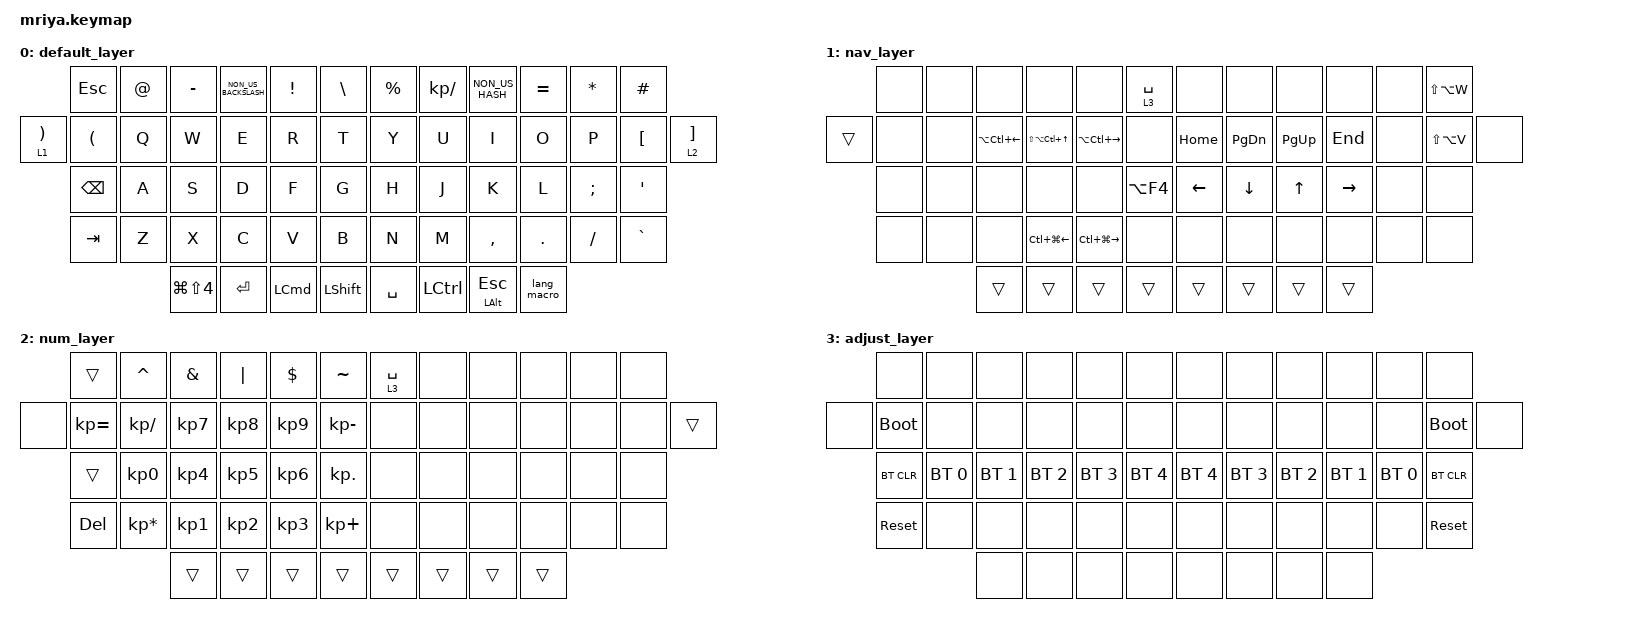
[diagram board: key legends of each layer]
/*
 * Copyright (c) 2023 Andrei Gaevskii
 *
 * SPDX-License-Identifier: MIT
 */

#include <behaviors.dtsi>
#include <dt-bindings/zmk/bt.h>
#include <dt-bindings/zmk/keys.h>

#define DEF 0
#define LWR 1
#define RSE 2
#define ADJ 3

&lt {
    quick_tap_ms = <200>;
};

&mt {
    quick_tap_ms = <200>;
};

/ {
    macros {
        lang_macro: lang_macro {
            compatible = "zmk,behavior-macro";
            label = "LANG_MACRO";
            #binding-cells = <0>;
            bindings = <&kp LC(LG(SPACE)) &kp LG(SPACE)>;
        };
    };

    keymap {
        compatible = "zmk,keymap";

        default_layer {
            bindings = <
                         &kp ESCAPE            &kp AT_SIGN  &kp MINUS             &kp NON_US_BACKSLASH  &kp EXCLAMATION   &kp BACKSLASH     &kp PERCENT  &kp KP_SLASH  &kp NON_US_HASH   &kp EQUAL    &kp ASTERISK  &kp HASH
&lt 1 RIGHT_PARENTHESIS  &kp LEFT_PARENTHESIS  &kp Q        &kp W                 &kp E                 &kp R             &kp T             &kp Y        &kp U         &kp I             &kp O        &kp P         &kp LBKT          &lt 2 RIGHT_BRACKET
                         &kp BACKSPACE         &kp A        &kp S                 &kp D                 &kp F             &kp G             &kp H        &kp J         &kp K             &kp L        &kp SEMI      &kp SINGLE_QUOTE
                         &kp TAB               &kp Z        &kp X                 &kp C                 &kp V             &kp B             &kp N        &kp M         &kp COMMA         &kp DOT      &kp FSLH      &kp GRAVE
                                                            &kp LG(LS(NUMBER_4))  &kp RETURN            &kp LEFT_COMMAND  &kp LEFT_SHIFT    &kp SPACE    &kp LCTRL     &mt LEFT_ALT ESC  &lang_macro
            >;
        };

        nav_layer {
            bindings = <
        &none  &none  &none                   &none                     &none              &lt 3 SPACE    &none     &none          &none         &none      &none  &kp LS(LA(W))
&trans  &none  &none  &kp LA(LC(LEFT_ARROW))  &kp LS(LA(LC(UP_ARROW)))  &kp LA(LC(RIGHT))  &none          &kp HOME  &kp PAGE_DOWN  &kp PG_UP     &kp END    &none  &kp LS(LA(V))  &none
        &none  &none  &none                   &none                     &none              &kp LA(F4)     &kp LEFT  &kp DOWN       &kp UP_ARROW  &kp RIGHT  &none  &none
        &none  &none  &none                   &kp LC(LG(LEFT))          &kp LC(LG(RIGHT))  &none          &none     &none          &none         &none      &none  &none
                      &trans                  &trans                    &trans             &trans         &trans    &trans         &trans        &trans
            >;
        };

        num_layer {
            bindings = <
       &trans        &kp CARET        &kp AMPERSAND  &kp PIPE   &kp DOLLAR  &kp TILDE       &lt 3 SPACE  &none   &none   &none   &none  &none
&none  &kp KP_EQUAL  &kp KP_SLASH     &kp KP_N7      &kp KP_N8  &kp KP_N9   &kp KP_MINUS    &none        &none   &none   &none   &none  &none  &trans
       &trans        &kp KP_N0        &kp KP_N4      &kp KP_N5  &kp KP_N6   &kp KP_DOT      &none        &none   &none   &none   &none  &none
       &kp DELETE    &kp KP_MULTIPLY  &kp KP_N1      &kp KP_N2  &kp KP_N3   &kp KP_PLUS     &none        &none   &none   &none   &none  &none
                                      &trans         &trans     &trans      &trans          &trans       &trans  &trans  &trans
            >;
        };

        adjust_layer {
            bindings = <
       &none        &none         &none         &none         &none         &none           &none         &none         &none         &none         &none         &none
&none  &bootloader  &none         &none         &none         &none         &none           &none         &none         &none         &none         &none         &bootloader  &none
       &bt BT_CLR   &bt BT_SEL 0  &bt BT_SEL 1  &bt BT_SEL 2  &bt BT_SEL 3  &bt BT_SEL 4    &bt BT_SEL 4  &bt BT_SEL 3  &bt BT_SEL 2  &bt BT_SEL 1  &bt BT_SEL 0  &bt BT_CLR
       &sys_reset   &none         &none         &none         &none         &none           &none         &none         &none         &none         &none         &sys_reset
                                  &none         &none         &none         &none           &none         &none         &none         &none
            >;
        };
    };
};
